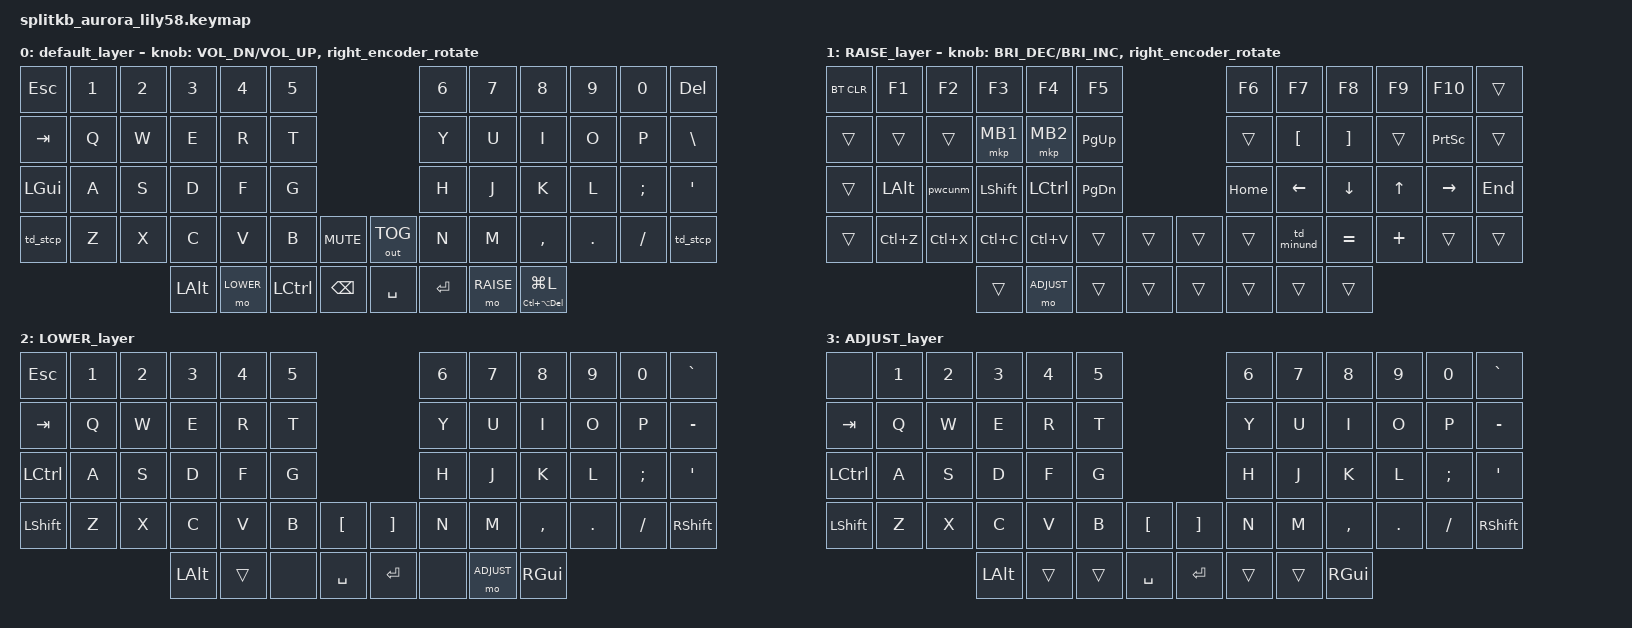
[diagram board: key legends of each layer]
/*
 * Copyright (c) 2022 The ZMK Contributors
 *
 * SPDX-License-Identifier: MIT
 */

#include <behaviors.dtsi>
#include <dt-bindings/zmk/keys.h>
#include <dt-bindings/zmk/bt.h>
#include <dt-bindings/zmk/outputs.h>
#include <dt-bindings/zmk/mouse.h>

#define BASE 0
#define RAISE 1
#define LOWER 2
#define ADJUST 3

&mt {
    tapping-term-ms = <200>;
};

&sensors {
    left_config {
        triggers-per-rotation = <30>;
    };

    right_config {
        triggers-per-rotation = <30>;
    };
};

/ {
    behaviors {

        rot_kp: sensor_rotate_kp {
            compatible = "zmk,behavior-sensor-rotate-var";
            #sensor-binding-cells = <2>;
            bindings = <&kp>, <&kp>;
        };

        right_encoder_rotate: right_encoder_rotate {
            compatible = "zmk,behavior-sensor-rotate";
            #sensor-binding-cells = <0>;
            bindings = <&bt BT_PRV>, <&bt BT_NXT>;
        };

        td_minund: tap_dance_minus_underscore {
            compatible = "zmk,behavior-tap-dance";
            label = "tap_dance_minus_underscore";
            #binding-cells = <0>;
            tapping-term-ms = <200>;
            bindings = <&kp MINUS>, <&kp UNDER>;
        };

        pht: positional_hold_tap {
            compatible = "zmk,behavior-hold-tap";
            label = "POSITIONAL_HOLD_TAP";
            #binding-cells = <2>;
            flavor = "tap-preferred";
            tapping-term-ms = <200>;
            bindings = <&kp>, <&kp>;
            hold-trigger-key-positions = <13>;
        };

        td_stcp: tap_dance_shift_caps {
            compatible = "zmk,behavior-tap-dance";
            label = "tap_dance_shift_caps";
            #binding-cells = <0>;
            tapping-term-ms = <200>;
            bindings = <&kp LSHFT>, <&caps_word>;
        };
    };

    macros {

        pwcunm: pwcu {
            label = "PWCUSERNAME";
            compatible = "zmk,behavior-macro";
            #binding-cells = <0>;
            wait-ms = <5>;
            tap-ms = <5>;
            bindings
                = <&macro_tap &kp S &kp R &kp E &kp E &kp R &kp A &kp J &kp DOT &kp M &kp DOT &kp S &kp A &kp S &kp I &kp AT &kp P &kp W &kp C &kp DOT &kp C &kp O &kp M &kp TAB>
                ; 
        };
    };

    combos {            
        compatible = "zmk,combos";
            combo_ctrlbspc {
            timeout-ms = <20>;
            key-positions = <53 54>;
            layers = <0 1 2 3>;
            bindings = <&kp LC(BSPC)>;
        };  
    };

    keymap {
        compatible = "zmk,keymap";

        default_layer {
            bindings = <
                &kp ESC   &kp N1 &kp N2 &kp N3   &kp N4   &kp N5                     &kp N6 &kp N7   &kp N8    &kp N9  &kp N0   &kp DEL
                &kp TAB   &kp Q  &kp W  &kp E    &kp R    &kp T                      &kp Y  &kp U    &kp I     &kp O   &kp P    &kp BSLH
                &kp LEFT_GUI  &kp A  &kp S  &kp D    &kp F    &kp G                      &kp H  &kp J    &kp K     &kp L   &kp SEMI &kp SQT
                &td_stcp &kp Z  &kp X  &kp C    &kp V    &kp B  &kp C_MUTE   &out OUT_TOG &kp N  &kp M    &kp COMMA &kp DOT &kp FSLH &td_stcp
                                        &kp LALT &mo LOWER &kp LCTRL  &kp BSPC  &kp SPACE  &kp ENTER  &mo RAISE &pht LC(LA(DEL)) LG(L)
            >;

            sensor-bindings = <&rot_kp C_VOL_DN C_VOL_UP &right_encoder_rotate>;
        };

        RAISE_layer {
            bindings = <
                &bt BT_CLR    &kp F1 &kp F2 &kp F3   &kp F4   &kp F5                     &kp F6 &kp F7   &kp F8    &kp F9  &kp F10   &trans
                &trans    &trans  &trans  &mkp MB1   &mkp MB2    &kp PG_UP                      &trans  &kp LBKT    &kp RBKT     &trans   &kp PSCRN    &trans
                &trans    &kp LALT  &pwcunm  &kp LSHFT    &kp LCTRL    &kp PG_DN                      &kp HOME  &kp LEFT    &kp DOWN     &kp UP   &kp RIGHT &kp END
                &trans    &kp LC(Z)  &kp LC(X)  &kp LC(C)    &kp LC(V)    &trans  &trans   &trans &trans  &td_minund    &kp EQUAL &kp PLUS &trans &trans
                                        &trans &mo ADJUST &trans  &trans  &trans  &trans  &trans &trans
            >;

            sensor-bindings = <&rot_kp C_BRI_DEC C_BRI_INC &right_encoder_rotate>;
        };

        LOWER_layer {
            bindings = <
                &kp ESC   &kp N1 &kp N2 &kp N3   &kp N4   &kp N5                     &kp N6 &kp N7   &kp N8    &kp N9  &kp N0   &kp GRAVE
                &kp TAB   &kp Q  &kp W  &kp E    &kp R    &kp T                      &kp Y  &kp U    &kp I     &kp O   &kp P    &kp MINUS
                &kp LCTRL &kp A  &kp S  &kp D    &kp F    &kp G                      &kp H  &kp J    &kp K     &kp L   &kp SEMI &kp SQT
                &kp LSHFT &kp Z  &kp X  &kp C    &kp V    &kp B  &kp LBKT   &kp RBKT &kp N  &kp M    &kp COMMA &kp DOT &kp FSLH &kp RSHFT
                                        &kp LALT &trans &none  &kp SPACE  &kp RET  &none &mo ADJUST &kp RGUI
            >;
        };

        ADJUST_layer {
            bindings = <
                &none   &kp N1 &kp N2 &kp N3   &kp N4   &kp N5                     &kp N6 &kp N7   &kp N8    &kp N9  &kp N0   &kp GRAVE
                &kp TAB   &kp Q  &kp W  &kp E    &kp R    &kp T                      &kp Y  &kp U    &kp I     &kp O   &kp P    &kp MINUS
                &kp LCTRL &kp A  &kp S  &kp D    &kp F    &kp G                      &kp H  &kp J    &kp K     &kp L   &kp SEMI &kp SQT
                &kp LSHFT &kp Z  &kp X  &kp C    &kp V    &kp B  &kp LBKT   &kp RBKT &kp N  &kp M    &kp COMMA &kp DOT &kp FSLH &kp RSHFT
                                        &kp LALT &trans &trans  &kp SPACE  &kp RET  &trans  &trans &kp RGUI
            >;
        };   
    };
};
